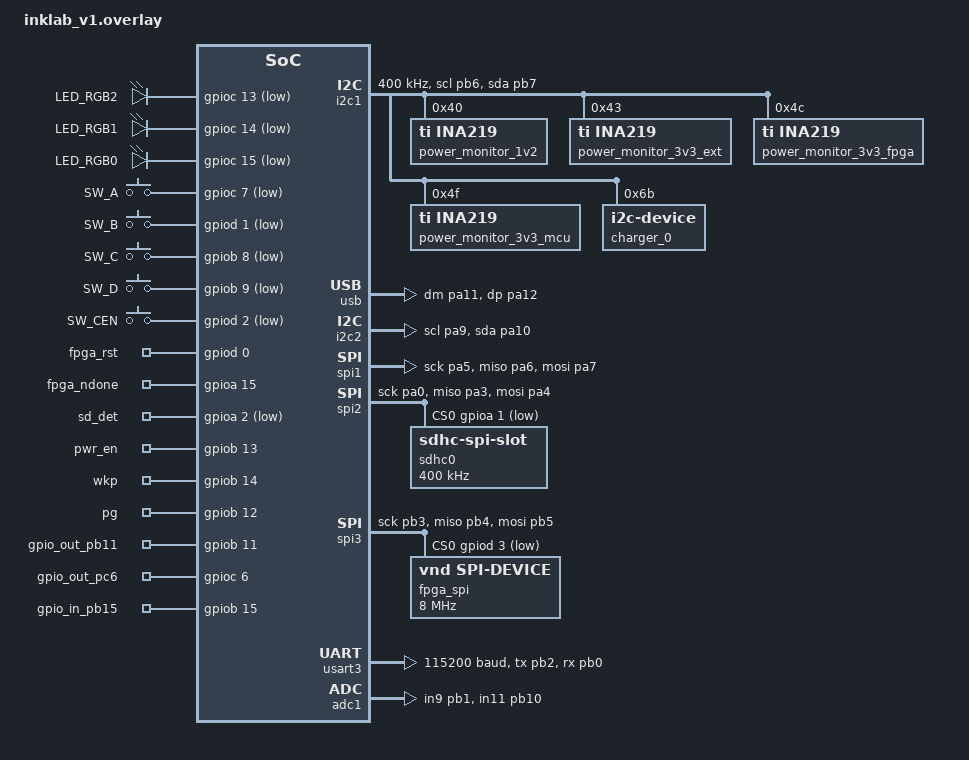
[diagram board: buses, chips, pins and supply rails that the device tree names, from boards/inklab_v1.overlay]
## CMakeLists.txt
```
cmake_minimum_required(VERSION 3.20.0)
find_package(Zephyr REQUIRED HINTS $ENV{ZEPHYR_BASE})
project(inklab_blinky)
zephyr_include_directories(include src)


target_sources(app PRIVATE 
    src/main.c
    src/bus_manager.c
    src/rtos/usb_task.c
    src/proto/frontend_api.c
    src/hal/battery_defs.c
    src/hal/battery_soc.c
    src/hal/bq25798.c
    src/hal/diagnostics.c
    src/hal/error_manager.c
    src/hal/ext_interfaces.c
    src/hal/fpga.c
    src/hal/joystick.c
    src/hal/led_manager.c
    src/hal/powerMonitor.c
    src/hal/sys_power.c
)
```

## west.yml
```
manifest:
  remotes:
    - name: zephyrproject-rtos
      url-base: https://github.com/zephyrproject-rtos
  projects:
    - name: zephyr
      remote: zephyrproject-rtos
      revision: v3.6.0
      import: true
  self:
    path: inklab-firmware
```

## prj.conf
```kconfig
# ── GPIO / I2C ──────────────────────────────────────────────────
CONFIG_GPIO=y
CONFIG_I2C=y

# ── SPI + DMA ───────────────────────────────────────────────────
CONFIG_SPI=y
CONFIG_SPI_STM32=y
CONFIG_DMA=y
CONFIG_DMA_STM32=y
CONFIG_SPI_STM32_DMA=y
CONFIG_SPI_ASYNC=y


# ── Pinctrl ─────────────────────────────────────────────────────
CONFIG_PINCTRL=y

# ── ADC ─────────────────────────────────────────────────────────
CONFIG_ADC=y

# ── USB CDC ACM Console ──────────────────────────────────────────
CONFIG_USB_DEVICE_STACK=y
CONFIG_USB_DEVICE_PRODUCT="InkLab-Vela"
CONFIG_USB_DEVICE_VID=0x1209
CONFIG_USB_DEVICE_PID=0x0001
CONFIG_USB_CDC_ACM=y

CONFIG_SERIAL=y
CONFIG_CONSOLE=n
CONFIG_UART_CONSOLE=n
CONFIG_UART_LINE_CTRL=y
CONFIG_UART_INTERRUPT_DRIVEN=y
CONFIG_PRINTK=y


# Don't let the console block the system if the USB cable isn't "ready"
CONFIG_UART_LINE_CTRL=y
CONFIG_USB_CDC_ACM_LOG_LEVEL_OFF=y



# ── Printf / float support ───────────────────────────────────────
CONFIG_CBPRINTF_FP_SUPPORT=y

# ── File system: FAT32 + exFAT ───────────────────────────────────
CONFIG_SDHC=y
CONFIG_DISK_ACCESS=y
CONFIG_FILE_SYSTEM=y
CONFIG_FAT_FILESYSTEM_ELM=y
CONFIG_FS_FATFS_EXFAT=y
CONFIG_FS_FATFS_LFN_MODE_HEAP=y
CONFIG_HEAP_MEM_POOL_SIZE=4096

# ── Threading ────────────────────────────────────────────────────
CONFIG_MULTITHREADING=y
CONFIG_NUM_PREEMPT_PRIORITIES=16
CONFIG_NUM_COOP_PRIORITIES=2
CONFIG_THREAD_NAME=y
CONFIG_THREAD_MONITOR=y
CONFIG_THREAD_STACK_INFO=y
CONFIG_STACK_SENTINEL=y

CONFIG_THREAD_ANALYZER=y
CONFIG_THREAD_ANALYZER_USE_PRINTK=y
CONFIG_THREAD_ANALYZER_AUTO=n

# ── MCUboot / OTA ────────────────────────────────────────────────
CONFIG_BOOTLOADER_MCUBOOT=n
CONFIG_IMG_MANAGER=y
CONFIG_MCUBOOT_IMG_MANAGER=n
CONFIG_STREAM_FLASH=y               
CONFIG_IMG_BLOCK_BUF_SIZE=4096 
CONFIG_FLASH=y
CONFIG_FLASH_MAP=y

# ── Power management ─────────────────────────────────────────────


# ── Reboot ───────────────────────────────────────────────────────
CONFIG_REBOOT=y
```

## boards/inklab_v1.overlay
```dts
// boards/inklab_v1.overlay
// Target: STM32G0B1CEUx on InkLab v1 PCB
#include <zephyr/dt-bindings/dma/stm32_dma.h>

/ {

    chosen {
        /* Intentionally empty! We are handling USB manually now. */
    };
    aliases {
        led0 = &led_r;
        led1 = &led_g;
        led2 = &led_b;
        joy-up = &joy_up;
        joy-down = &joy_down;
        joy-left = &joy_left;
        joy-right = &joy_right;
        joy-center = &joy_center;
        gpio-pb11 = &gpio_out_pb11; 
    };

    leds {
        compatible = "gpio-leds";
        led_b: led_b { gpios = <&gpioc 13 GPIO_ACTIVE_LOW>; label = "LED_RGB2"; };
        led_g: led_g { gpios = <&gpioc 14 GPIO_ACTIVE_LOW>; label = "LED_RGB1"; };
        led_r: led_r { gpios = <&gpioc 15 GPIO_ACTIVE_LOW>; label = "LED_RGB0"; };
    };

    joystick {
        compatible = "gpio-keys";
        joy_left: button_0 { gpios = <&gpioc 7 (GPIO_ACTIVE_LOW | GPIO_PULL_UP)>; label = "SW_A"; };
        joy_up: button_1 { gpios = <&gpiod 1 (GPIO_ACTIVE_LOW | GPIO_PULL_UP)>; label = "SW_B"; };
        joy_down: button_2 { gpios = <&gpiob 8 (GPIO_ACTIVE_LOW | GPIO_PULL_UP)>; label = "SW_C"; };
        joy_right: button_3 { gpios = <&gpiob 9 (GPIO_ACTIVE_LOW | GPIO_PULL_UP)>; label = "SW_D"; };
        joy_center: button_4 { gpios = <&gpiod 2 (GPIO_ACTIVE_LOW | GPIO_PULL_UP)>; label = "SW_CEN"; };
    };

    sys_ctrl {
        compatible = "gpio-keys";
        fpga_rst: fpga_rst { gpios = <&gpiod 0 GPIO_ACTIVE_HIGH>; };
        fpga_ndone: fpga_ndone { gpios = <&gpioa 15 GPIO_ACTIVE_HIGH>; };
        sd_det: sd_det { gpios = <&gpioa 2 GPIO_ACTIVE_LOW>; };
        pwr_en: pwr_en { gpios = <&gpiob 13 GPIO_ACTIVE_HIGH>; };
        wkp: wkp { gpios = <&gpiob 14 GPIO_ACTIVE_HIGH>; };
        pg: pg { gpios = <&gpiob 12 GPIO_ACTIVE_HIGH>; };
        gpio_out_pb11: gpio_out1 { gpios = <&gpiob 11 GPIO_ACTIVE_HIGH>; };
        gpio_out_pc6: gpio_out2 { gpios = <&gpioc 6 GPIO_ACTIVE_HIGH>; };
        gpio_in_pb15: gpio_in1 { gpios = <&gpiob 15 GPIO_ACTIVE_HIGH>; };
    };

    
};



&dma1 {
    status = "okay";
};

&dma2 {
    status = "okay";
};

&dmamux1 {
    status = "okay";
};

&i2c1 {
    status = "okay";
    pinctrl-0 = <&i2c1_scl_pb6 &i2c1_sda_pb7>;
    pinctrl-names = "default";
    clock-frequency = <I2C_BITRATE_FAST>;

    power_monitor_1v2: ina219@40 {
        compatible = "ti,ina219";
        reg = <0x40>;
        shunt-milliohm = <1500>; /* 1.5 Ohms = 1500 mOhm */
        lsb-microamp = <10>;
    };
    power_monitor_3v3_ext: ina219@43 {
        compatible = "ti,ina219"; 
        reg = <0x43>;
        shunt-milliohm = <1000>; /* 1.0 Ohms = 1000 mOhm */
        lsb-microamp = <10>;
    };
    power_monitor_3v3_fpga: ina219@4c {
        compatible = "ti,ina219"; 
        reg = <0x4C>;
        shunt-milliohm = <1000>;
        lsb-microamp = <10>;
    };
    power_monitor_3v3_mcu: ina219@4f {
        compatible = "ti,ina219"; 
        reg = <0x4F>;
        shunt-milliohm = <1000>;
        lsb-microamp = <10>;
    };
    charger_0: bq25798@6b {
        compatible = "i2c-device"; /* Custom driver binds to this */
        reg = <0x6B>;
    };
};

&usb {
    status = "okay";
    pinctrl-0 = <&usb_dm_pa11 &usb_dp_pa12>;
    pinctrl-names = "default";

    cdc_acm_uart0: cdc_acm_uart0 {
        compatible = "zephyr,cdc-acm-uart";
    };
};

&i2c2 {
    status = "okay";
    pinctrl-0 = <&i2c2_scl_pa9 &i2c2_sda_pa10>;
    pinctrl-names = "default";
};

&spi1 {
    status = "okay";
    pinctrl-0 = <&spi1_sck_pa5 &spi1_miso_pa6 &spi1_mosi_pa7>;
    pinctrl-names = "default";
};



/* REMOVE OR COMMENT THIS ENTIRE BLOCK OUT to test w/o dma */
// &spi2 {
//     dmas = <&dmamux1 0 20 (STM32_DMA_PERIPH_TX | STM32_DMA_PRIORITY_HIGH)>,
//            <&dmamux1 1 19 (STM32_DMA_PERIPH_RX | STM32_DMA_PRIORITY_HIGH)>;
//     dma-names = "tx", "rx";
// };

&spi2 {
    status = "okay";
    // Add internal pull-ups to the pinctrl (Check your pinctrl-0 node names)
    // Most STM32 cards require Pull-ups on MISO to prevent floating
    pinctrl-0 = <&spi2_sck_pa0 &spi2_miso_pa3 &spi2_mosi_pa4>;
    pinctrl-names = "default";
    cs-gpios = <&gpioa 1 GPIO_ACTIVE_LOW>; /* SD_CS */
    
    sdhc0: sdhc@0 {
        compatible = "zephyr,sdhc-spi-slot";
        reg = <0>;
        /* LOWER THIS SPEED FOR TESTING */
        /* Some cards fail to init if the first contact is at 8MHz */
        spi-max-frequency = <400000>; 
        mmc {
            compatible = "zephyr,sdmmc-disk";
            status = "okay";
        };
    };
};

/* DMA channel assignments for spi3 (FPGA) */
&spi3 {
    dmas = <&dmamux1 2 62 (STM32_DMA_PERIPH_TX | STM32_DMA_PRIORITY_HIGH)>,
           <&dmamux1 3 61 (STM32_DMA_PERIPH_RX | STM32_DMA_PRIORITY_HIGH)>;
    dma-names = "tx", "rx";
};

&spi3 {
    status = "okay";
    pinctrl-0 = <&spi3_sck_pb3 &spi3_miso_pb4 &spi3_mosi_pb5>;
    pinctrl-names = "default";
    cs-gpios = <&gpiod 3 GPIO_ACTIVE_LOW>; /* FPGA_CS */

    fpga_spi: fpga@0 {
        compatible = "vnd,spi-device";
        reg = <0>;
        spi-max-frequency = <8000000>;
    };
};

&usart3 {
    status = "okay";
    pinctrl-0 = <&usart3_tx_pb2 &usart3_rx_pb0>;
    pinctrl-names = "default";
    current-speed = <115200>;
};

&adc1 {
    status = "okay";
    pinctrl-0 = <&adc1_in9_pb1 &adc1_in11_pb10>;
    pinctrl-names = "default";
};
```

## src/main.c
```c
#include <zephyr/kernel.h>
#include <zephyr/device.h>
#include <zephyr/sys/printk.h>
#include <zephyr/usb/usb_device.h>
#include <string.h>
#include <zephyr/storage/flash_map.h>
#include <zephyr/dfu/flash_img.h>
#include <zephyr/dfu/mcuboot.h>
#include <zephyr/fs/fs.h>
#include <zephyr/sys/reboot.h>

#include "system_config.h"
#include "hal/powerMonitor.h"
#include "hal/bq25798.h"
#include "hal/battery_soc.h"
#include "hal/led_manager.h"
#include "hal/joystick.h"

/* --- Device Tree Handles --- */
static const struct device *i2c1_dev = DEVICE_DT_GET(DT_NODELABEL(i2c1));

PowerMonitor_t ina_1v2_core;
PowerMonitor_t ina_3v3_ext;
PowerMonitor_t ina_3v3_fpga;
PowerMonitor_t ina_3v3_mcu;

/* External Timer owned by led_manager.c */
extern struct k_timer led_pwm_timer;

/* --- Telemetry Globals exported for frontend_api.c --- */
volatile uint8_t telem_is_muted = 0;
volatile uint32_t telem_rate_ms = TELEM_RATE_DEFAULT_MS;

volatile uint8_t sd_is_mounted = 0;
static struct fs_mount_t sd_mount = {
    .type = FS_FATFS,
    .fs_data = NULL,                          /* Iniftialized by Zephyr */
    .mnt_point = "/SD:",                      /* Matches SD_MOUNT_POINT in system_config.h */
    .storage_dev = (void *)"SD",              /* Target the SD disk */
};

void Telemetry_SetFastTarget(uint8_t ch, const char *target) { /* Stub for Fast Mode */ }


/** 
 * @brief Native Zephyr OTA DFU using MCUboot and Flash Map 
 */
int OTA_Update_From_SD(const char *filename) {
    struct fs_file_t file;
    struct flash_img_context ctx;
    uint8_t buf[512];
    int rc;
    ssize_t bytes_read;

    fs_file_t_init(&file);
    if (fs_open(&file, filename, FS_O_READ) != 0) {
        printk("ERR: OTA file not found on SD.\n");
        return -ENOENT;
    }

    printk("LOG: Staging OTA Image to Slot 1...\n");
    flash_img_init(&ctx);
    
    while ((bytes_read = fs_read(&file, buf, sizeof(buf))) > 0) {
        rc = flash_img_buffered_write(&ctx, buf, bytes_read, false);
        if (rc < 0) {
            printk("ERR: Flash write failed (%d).\n", rc);
            fs_close(&file);
            return rc;
        }
    }
    
    /* Flush remaining bytes */
    flash_img_buffered_write(&ctx, buf, 0, true);
    fs_close(&file);

    printk("LOG: Image verified. Requesting MCUboot upgrade...\n");
    
    /* Flag MCUboot to test the image on next reboot */
    boot_request_upgrade(BOOT_UPGRADE_TEST);
    
    k_msleep(500); // Allow USB pipeline to flush
    sys_reboot(SYS_REBOOT_COLD);
    return 0;
}

/* --- Consumer Thread for Joystick Inputs --- */
static void joystick_thread_fn(void *arg1, void *arg2, void *arg3) {
    Joystick_Init();
    while (1) {
        JoyAction_t action = Joystick_Process();
        if (action != JOY_NONE) {
            JoystickMap_t map = Joystick_GetMap();
            
            if (action == JOY_UP || action == JOY_DOWN) {
                if (map.ud == 1) BQ25798_TogglePFM();
            } else if (action == JOY_LEFT || action == JOY_RIGHT) {
                if (map.lr == 1) BQ25798_AdjustVOTG(action == JOY_RIGHT ? 100 : -100);
            } else if (action == JOY_CENTER) {
                if (map.cen == 1) BQ25798_ToggleAutoRearm();
            }
        }
        k_msleep(JOYSTICK_POLL_RATE_MS);
    }
}
K_THREAD_DEFINE(joy_thread, JOYSTICK_THREAD_STACK, joystick_thread_fn, NULL, NULL, NULL, JOYSTICK_THREAD_PRIO, 0, 0);

int main(void) {
    k_msleep(100); 
    
    /* Safely enable USB */
    int ret = usb_enable(NULL);
    if (ret != 0 && ret != -EALREADY) {
        // Do not return! Just log it and keep booting the hardware.
        printk("WRN: USB failed to enable or is unplugged (%d)\n", ret);
    }
    
    k_sleep(K_MSEC(2500));

    /* Initialize SD Card */
    printk("LOG: Attempting to mount SD Card...\n");
    int sd_err = fs_mount(&sd_mount);
    
    if (sd_err == 0) {
        printk("LOG: SD Card mounted successfully.\n");
        sd_is_mounted = 1;
    } else {
        printk("ERR: SD Card mount failed with code: %d\n", sd_err);
        sd_is_mounted = 0;
        
        // Translate common codes for easier debugging
        if (sd_err == -5) printk("DEBUG: Error -5 (EIO). Usually means bad SPI wiring, missing pull-ups, or SPI speed too high.\n");
        if (sd_err == -19) printk("DEBUG: Error -19 (ENODEV). Usually means the SD card is not physically inserted or detected.\n");
        if (sd_err == -22) printk("DEBUG: Error -22 (EINVAL). Usually means the FAT32/exFAT format is corrupted or unrecognized.\n");
    }
    
    printk("*** Booting Zephyr OS build %s ***\n", KERNEL_VERSION_STRING);

    if (!device_is_ready(i2c1_dev)) return -ENODEV;

    /* Initialize Hardware Modules */
    LED_Init();
    k_timer_start(&led_pwm_timer, K_MSEC(LED_PWM_PERIOD_MS), K_MSEC(LED_PWM_PERIOD_MS));

    BQ25798_Init(i2c1_dev);
    PowerMonitor_Init(&ina_1v2_core, i2c1_dev, POWER_MONITOR_ADDR_40, INA_CORE_RSHUNT, INA_CORE_MAX_A);
    PowerMonitor_Init(&ina_3v3_ext,  i2c1_dev, POWER_MONITOR_ADDR_43, INA_EXT_RSHUNT, INA_EXT_MAX_A);
    PowerMonitor_Init(&ina_3v3_fpga, i2c1_dev, POWER_MONITOR_ADDR_4C, INA_FPGA_RSHUNT, INA_FPGA_MAX_A);
    PowerMonitor_Init(&ina_3v3_mcu,  i2c1_dev, POWER_MONITOR_ADDR_4F, INA_MCU_RSHUNT, INA_MCU_MAX_A);
    PowerMonitor_SetOffset(&ina_3v3_fpga, INA_FPGA_OFFSET_MA);

    BatterySOC_Init();
    
    BQ25798_Data_t bq_data;
    bool backup_armed = false;
    uint32_t boot_tick = k_uptime_get_32();

    while (1) {
        if (BQ25798_ReadAll(&bq_data) == 0) {
            float soc = 0.0f, r_int = 0.0f;
            BatterySOC_Update(bq_data.vbat_V, bq_data.ibat_mA, &soc, &r_int);

            if (!telem_is_muted) {
                char bq_json[256];
                BQ25798_GetJson(&bq_data, bq_json, sizeof(bq_json));
                char* brace = strrchr(bq_json, '}');
                if (brace) snprintf(brace, sizeof(bq_json) - (brace - bq_json), 
                                    ",\"soc\":%.1f,\"r_int\":%.3f}", (double)soc, (double)r_int);
                printk("%s\n", bq_json);
            }

            // Arm/Rearm Logic
            if (!backup_armed && (k_uptime_get_32() - boot_tick > BQ_BACKUP_ARM_DELAY_MS)) {
                BQ25798_EnableBackup5V5(); backup_armed = true;
            }
            if (((bq_data.stat1 >> 1) & 0x0F) == 0x0C && (bq_data.stat0 & (1 << 1))) {
                BQ25798_RearmBackup(BQ_BACKUP_REARM_DELAY_MS); 
            }
        }

        if (!telem_is_muted) {
            PowerMonitor_Data_t ina;
            if (PowerMonitor_Read(&ina_1v2_core, &ina) == 0)
                printk("{\"type\":\"ina\",\"id\":\"1v2_core\",\"v\":%.2f,\"i\":%.2f,\"p\":%.4f}\n", (double)ina.bus_voltage_V, (double)ina.current_mA, (double)ina.power_mW);
            if (PowerMonitor_Read(&ina_3v3_ext, &ina) == 0)
                printk("{\"type\":\"ina\",\"id\":\"3v3_ext\",\"v\":%.2f,\"i\":%.2f,\"p\":%.4f}\n", (double)ina.bus_voltage_V, (double)ina.current_mA, (double)ina.power_mW);
            if (PowerMonitor_Read(&ina_3v3_fpga, &ina) == 0)
                printk("{\"type\":\"ina\",\"id\":\"3v3_fpga\",\"v\":%.2f,\"i\":%.2f,\"p\":%.4f}\n", (double)ina.bus_voltage_V, (double)ina.current_mA, (double)ina.power_mW);
            if (PowerMonitor_Read(&ina_3v3_mcu, &ina) == 0)
                printk("{\"type\":\"ina\",\"id\":\"3v3_mcu\",\"v\":%.2f,\"i\":%.2f,\"p\":%.4f}\n", (double)ina.bus_voltage_V, (double)ina.current_mA, (double)ina.power_mW);
        }
        k_msleep(telem_rate_ms);
    }
    return 0;
}
```

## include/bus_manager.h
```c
/**
 * @file bus_manager.h
 * @brief Mediates shared hardware bus access to ensure thread safety.
 */
#ifndef BUS_MANAGER_H
#define BUS_MANAGER_H

/**
 * @brief Acquires the shared I2C bus mutex.
 * @return 0 on success, negative errno (-ENOLCK) on failure.
 */
int BusManager_LockI2C(void);

/**
 * @brief Releases the shared I2C bus mutex.
 */
void BusManager_UnlockI2C(void);

#endif /* BUS_MANAGER_H */
```

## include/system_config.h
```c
/**
 * @file system_config.h
 * @brief Centralized system configurations and magic numbers (Law 3 Compliance).
 */
#ifndef SYSTEM_CONFIG_H
#define SYSTEM_CONFIG_H

/* --- Telemetry Configuration --- */
#define TELEM_RATE_DEFAULT_MS    1000

/* --- BQ25798 Charger Configuration --- */
#define BQ_I2C_ADDR              0x6B
#define BQ_VINDPM_DEFAULT_MV     4200
#define BQ_VOTG_BACKUP_MV        5000
#define BQ_VOTG_BASE_MV          2800
#define BQ_OTG_REG_DIVISOR       10
#define BQ_DEFAULT_ICHG_MA       500
#define BQ_ADC_CTRL_ENABLE       0x80
#define BQ_REG_DUMP_COUNT        48

/* --- Power Monitor (INA) Configuration --- */
#define INA_CURRENT_LSB_BASE     32768.0f
#define INA_CALIB_MAGIC          0.04096f
#define INA_DEFAULT_CONFIG       0x399F
#define POWER_MONITOR_ADDR_40    0x40
#define POWER_MONITOR_ADDR_43    0x43
#define POWER_MONITOR_ADDR_4C    0x4C
#define POWER_MONITOR_ADDR_4F    0x4F

#define INA_CURRENT_LSB_BASE     32768.0f

/* Hardware Shunt Resistors & Current Limits */
#define INA_CORE_RSHUNT          1.5f
#define INA_CORE_MAX_A           0.210f
#define INA_EXT_RSHUNT           1.0f
#define INA_EXT_MAX_A            0.320f
#define INA_FPGA_RSHUNT          1.0f
#define INA_FPGA_MAX_A           0.320f
#define INA_MCU_RSHUNT           1.0f
#define INA_MCU_MAX_A            0.320f
#define INA_FPGA_OFFSET_MA       0.47f

/* Auto-Scale Thresholds */
#define INA_BUS_V_MULTIPLIER     0.004f
#define INA_SHUNT_MV_MULTIPLIER  0.01f
#define INA_AUTO_UP_320MV        150.0f
#define INA_AUTO_UP_160MV        75.0f
#define INA_AUTO_UP_80MV         38.0f
#define INA_AUTO_DN_160MV        120.0f
#define INA_AUTO_DN_80MV         60.0f
#define INA_AUTO_DN_40MV         30.0f

/* --- Battery SOC Configuration --- */
#define BATT_DEFAULT_R_INT_OHMS  0.150f
#define BATT_SOC_MIN_DELTA_I     0.2f
#define BATT_SOC_MIN_R_INT       0.02f
#define BATT_SOC_MAX_R_INT       0.5f
#define BATT_SOC_R_EMA_W         0.2f
#define BATT_SOC_SOC_EMA_W       0.05f

/* --- Standard Battery Profiles --- */
#define BATT_LIION_3200_CHG_MV   4200
#define BATT_LIION_3200_CHG_MA   1600
#define BATT_LIION_3200_TERM_MA  80
#define BATT_LIION_3200_SYS_MV   3000

/* --- LED Default Configuration --- */
#define LED_DEFAULT_LIMIT_R      25
#define LED_DEFAULT_LIMIT_G      10
#define LED_DEFAULT_LIMIT_B      10

/* --- File System & Frontend Configuration --- */
#define SD_MOUNT_POINT           "/SD:"
#define SD_BUF_SIZE              8192U
#define UPLOAD_CHUNK_ACK         8192U
#define CMD_BUF_LEN              128U
#define CMD_MAX_TOKENS           10
#define UPLOAD_TIMEOUT_MS        3000U
#define SD_SLOT_OTA              99
#define SD_MAX_PATH_LEN          48U

/* --- FPGA Configuration --- */
#define FPGA_MAX_SLOTS           16
#define FPGA_SLOT_NAME_LEN       16
#define FPGA_SYNC_BYTE           0x5A
#define FPGA_RESET_ASSERT_MS     5
#define FPGA_RESET_RELEASE_MS    10
#define FPGA_TX_BUF_SIZE         4096U

/* --- USB RTOS Task Configuration --- */
#define USB_MSG_MAX_LEN          256
#define RX_RING_SIZE             8192
#define USB_TX_QUEUE_SIZE        64
#define USB_THREAD_STACK_SIZE    2048
#define USB_THREAD_PRIORITY      5
#define USB_TX_MAX_RETRIES       10

/* --- UART / USB CDC Configuration --- */
#define UART_RX_CHUNK_SIZE       64U
#define UART_TX_CHUNK_SIZE       128U

/* --- External Interface Configurations --- */
#define DAC_8BIT_MAX             255.0f
#define DAC_VREF_3V              3.0f
#define I2C_SCAN_MAX_ADDR        128

/* --- Task & Thread Configuration --- */
#define DISK_TASK_STACK          2048
#define DISK_TASK_PRIO           5
#define JOYSTICK_THREAD_STACK    1024
#define JOYSTICK_THREAD_PRIO     6
#define JOYSTICK_POLL_RATE_MS    50

/* --- Queues & Alignments --- */
#define SD_WRITE_QUEUE_SIZE      2
#define SD_WRITE_QUEUE_ALIGN     4
#define FPGA_TX_QUEUE_SIZE       8
#define FPGA_TX_QUEUE_ALIGN      4

/* --- Timing & Delays --- */
#define SYS_BOOT_DELAY_MS        2500
#define BQ_BACKUP_ARM_DELAY_MS   5000
#define BQ_BACKUP_REARM_DELAY_MS 3000
#define ERR_LED_HOLD_TIME_MS     2000
#define LED_PWM_PERIOD_MS        10
#define LED_PWM_MAX              100
#define SYS_WAKE_DELAY_MS        50

/* --- Diagnostic Configuration --- */
#define DIAG_I2C_TEST_ITERATIONS 1000
#define DIAG_I2C_YIELD_MODULUS   50
#define DIAG_I2C_EXPECTED_READS  4000.0f

#endif /* SYSTEM_CONFIG_H */
```

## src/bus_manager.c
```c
/**
 * @file bus_manager.c
 * @brief Implementation of shared bus synchronization.
 */
#include "bus_manager.h"
#include <zephyr/kernel.h>
#include <errno.h>

/* Centralized mutex for the I2C1 Bus */
static K_MUTEX_DEFINE(i2c1_bus_mutex);

/** Internal helper to lock the I2C bus */
int BusManager_LockI2C(void) {
    if (k_mutex_lock(&i2c1_bus_mutex, K_FOREVER) == 0) {
        return 0;
    }
    return -ENOLCK;
}

/** Internal helper to unlock the I2C bus */
void BusManager_UnlockI2C(void) {
    k_mutex_unlock(&i2c1_bus_mutex);
}
```
